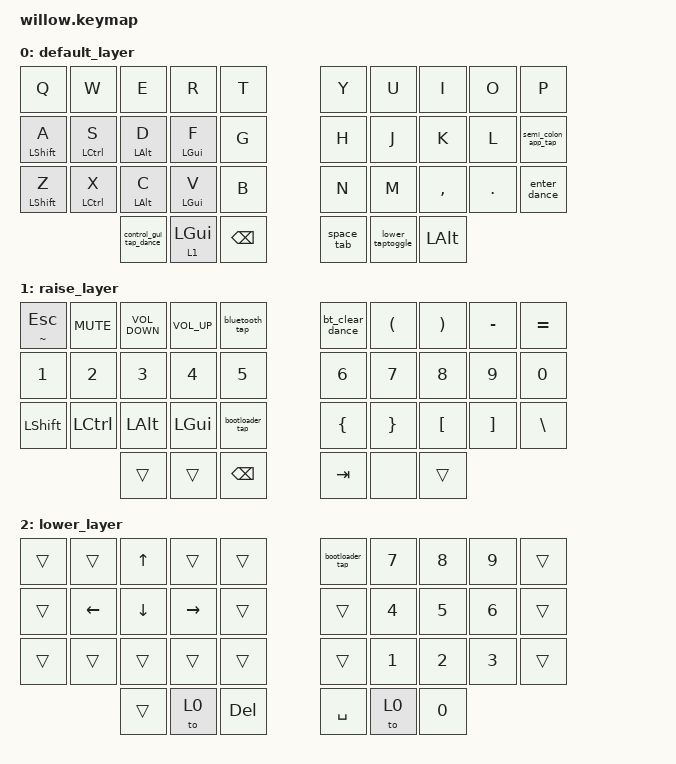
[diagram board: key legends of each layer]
#include <behaviors.dtsi>
#include <dt-bindings/zmk/bt.h>
#include <dt-bindings/zmk/keys.h>

#define DEFAULT 0
#define LOWER   1
#define RAISE   2

/ {
    combos { compatible = "zmk,combos"; };

    behaviors {
        enter_dance: enter_dance {
            compatible = "zmk,behavior-tap-dance";
            label = "ENTER_DANCE";
            #binding-cells = <0>;
            bindings = <&kp ENTER>, <&kp SLASH>;

            tapping-term-ms = <200>;
        };

        space_tab: space_tab {
            compatible = "zmk,behavior-tap-dance";
            label = "SPACE_TAB";
            #binding-cells = <0>;
            bindings = <&kp SPACE>, <&kp TAB>;
        };

        lower_taptoggle: lower_taptoggle {
            compatible = "zmk,behavior-tap-dance";
            label = "LOWER_TAPTOGGLE";
            #binding-cells = <0>;
            bindings = <&mo 2>, <&to 2>;
        };

        bluetooth_tap: bluetooth_tap {
            compatible = "zmk,behavior-tap-dance";
            label = "BLUETOOTH_TAP";
            #binding-cells = <0>;
            bindings =
                <&bt BT_SEL 0>,
                <&bt BT_SEL 1>,
                <&bt BT_SEL 2>,
                <&bt BT_SEL 3>,
                <&bt BT_SEL 4>;

            tapping-term-ms = <300>;
        };

        bootloader_tap: bootloader_tap {
            compatible = "zmk,behavior-tap-dance";
            label = "BOOTLOADER_TAP";
            #binding-cells = <0>;
            bindings = <&none>, <&bootloader>;
        };

        auto_shift: auto_shift {
            compatible = "zmk,behavior-hold-tap";
            label = "AUTO_SHIFT";
            bindings = <&kp>, <&kp>;

            #binding-cells = <2>;
            flavor = "tap-preferred";
            tapping-term-ms = <150>;
        };

        semi_colon_app_tap: semi_colon_app_tap {
            compatible = "zmk,behavior-tap-dance";
            label = "SEMI_COLON_APP_TAP";
            #binding-cells = <0>;
            bindings = <&kp SEMI>, <&kp APOSTROPHE>;

            tapping-term-ms = <200>;
        };

        control_gui_tap_dance: control_gui_tap_dance {
            compatible = "zmk,behavior-tap-dance";
            label = "CONTROL_GUI_TAP_DANCE";
            #binding-cells = <0>;
            bindings = <&kp LEFT_CONTROL>, <&kp LEFT_GUI>;
        };

        auto_shift_short: auto_shift_short {
            compatible = "zmk,behavior-hold-tap";
            label = "AUTO_SHIFT_SHORT";
            bindings = <&kp>, <&kp>;

            #binding-cells = <2>;
            tapping-term-ms = <100>;
            flavor = "tap-preferred";
        };

        bt_clear_dance: bt_clear_dance {
            compatible = "zmk,behavior-tap-dance";
            label = "BT_CLEAR_DANCE";
            #binding-cells = <0>;
            bindings = <&none>, <&bt BT_CLR>;
        };

        hrm: hrm {
            compatible = "zmk,behavior-hold-tap";
            label = "HRM";
            bindings = <&kp>, <&kp>;

            #binding-cells = <2>;
            tapping-term-ms = <150>;
            flavor = "tap-preferred";
        };
    };

    macros {
        bt_profile_0: bt_profile_0 {
            compatible = "zmk,behavior-macro";
            #binding-cells = <0>;
            bindings = <&bt BT_DISC 1 &bt BT_DISC 2 &bt BT_DISC 3 &bt BT_DISC 4 &bt BT_SEL 0>;
            label = "BT_PROFILE_0";
        };

        bt_profile_1: bt_profile_1 {
            compatible = "zmk,behavior-macro";
            #binding-cells = <0>;
            bindings = <&bt BT_DISC 0 &bt BT_DISC 2 &bt BT_DISC 3 &bt BT_DISC 4 &bt BT_SEL 1>;
            label = "BT_PROFILE_1";
        };

        bt_profile_2: bt_profile_2 {
            compatible = "zmk,behavior-macro";
            #binding-cells = <0>;
            bindings = <&bt BT_DISC 0 &bt BT_DISC 1 &bt BT_DISC 3 &bt BT_DISC 4 &bt BT_SEL 2>;
            label = "BT_PROFILE_2";
        };

        bt_profile_3: bt_profile_3 {
            compatible = "zmk,behavior-macro";
            #binding-cells = <0>;
            bindings = <&bt BT_DISC 0 &bt BT_DISC 1 &bt BT_DISC 2 &bt BT_DISC 4 &bt BT_SEL 3>;
            label = "BT_PROFILE_3";
        };

        bt_profile_4: bt_profile_4 {
            compatible = "zmk,behavior-macro";
            #binding-cells = <0>;
            bindings = <&bt BT_DISC 0 &bt BT_DISC 1 &bt BT_DISC 2 &bt BT_DISC 3 &bt BT_SEL 4>;
            label = "BT_PROFILE_4";
        };
    };

    keymap {
        compatible = "zmk,keymap";

        default_layer {
            bindings = <
&kp Q              &kp W                &kp E                   &kp R            &kp T            &kp Y       &kp U             &kp I         &kp O    &kp P
&hrm LEFT_SHIFT A  &hrm LEFT_CONTROL S  &hrm LEFT_ALT D         &hrm LEFT_GUI F  &kp G            &kp H       &kp J             &kp K         &kp L    &semi_colon_app_tap
&hrm LEFT_SHIFT Z  &hrm LEFT_CONTROL X  &hrm LEFT_ALT C         &hrm LEFT_GUI V  &kp B            &kp N       &kp M             &kp COMMA     &kp DOT  &enter_dance
                                        &control_gui_tap_dance  &lt 1 LEFT_GUI   &kp BACKSPACE    &space_tab  &lower_taptoggle  &kp LEFT_ALT
            >;
        };

        raise_layer {
            bindings = <
&auto_shift TILDE ESCAPE  &kp K_MUTE        &kp C_VOLUME_DOWN  &kp C_VOLUME_UP  &bluetooth_tap     &bt_clear_dance  &kp LEFT_PARENTHESIS  &kp RIGHT_PARENTHESIS  &kp MINUS          &kp EQUAL
&kp NUMBER_1              &kp NUMBER_2      &kp NUMBER_3       &kp NUMBER_4     &kp N5             &kp NUMBER_6     &kp N7                &kp N8                 &kp N9             &kp N0
&kp LEFT_SHIFT            &kp LEFT_CONTROL  &kp LEFT_ALT       &kp LEFT_GUI     &bootloader_tap    &kp LEFT_BRACE   &kp RIGHT_BRACE       &kp LEFT_BRACKET       &kp RIGHT_BRACKET  &kp BACKSLASH
                                            &trans             &trans           &kp BACKSPACE      &kp TAB          &none                 &trans
            >;
        };

        lower_layer {
            bindings = <
&trans  &trans    &kp UP_ARROW  &trans     &trans        &bootloader_tap  &kp N7        &kp N8        &kp N9        &trans
&trans  &kp LEFT  &kp DOWN      &kp RIGHT  &trans        &trans           &kp NUMBER_4  &kp N5        &kp NUMBER_6  &trans
&trans  &trans    &trans        &trans     &trans        &trans           &kp NUMBER_1  &kp NUMBER_2  &kp NUMBER_3  &trans
                  &trans        &to 0      &kp DELETE    &kp SPACE        &to 0         &kp N0
            >;
        };
    };
};
